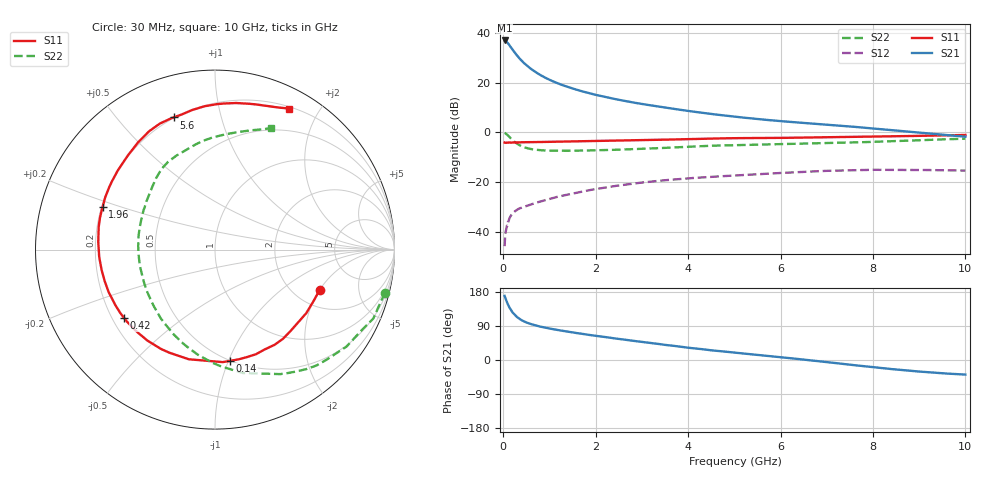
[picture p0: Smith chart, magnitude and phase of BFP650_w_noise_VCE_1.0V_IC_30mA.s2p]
! Infineon Technologies  Discrete & RF Semiconductors
! BFP650
! VCE =  1.0 V,  IC =  30 mA
! Common Emitter S-Parameters:  Jan 2016
# GHz  S  MA  R  50
!  f  S11  S21  S12  S22
! GHz  MAG  ANG  MAG  ANG  MAG  ANG  MAG  ANG
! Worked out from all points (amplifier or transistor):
!   229 points, 30 MHz to 10 GHz, reference 50 ohm
!   highest |S21| = 37.1 dB at 30 MHz (marker M1)
!   |S21| within 3 dB of that: start of sweep to 175.2 MHz
!   unconditionally stable (mu >= 1): 2.352 GHz to end of sweep
!   at 280 MHz: K = 0.33, MSG = 31.4 dB, |S12| = -31.4 dB
!   at 1.78 GHz: K = 0.95, MSG = 19.9 dB, |S12| = -23.6 dB
!   at 10 GHz: K = 1.04, MAG = 5.6 dB, |S12| = -15.4 dB
!   lowest NFmin = 0.77 dB at 450 MHz
!   S11 on the Smith chart (normalised r, x): 30 MHz: 2.72, -2.00; 140 MHz: 0.50, -1.01; 420 MHz: 0.25, -0.32; 1.96 GHz: 0.20, +0.18; 5.6 GHz: 0.20, +0.72; 10 GHz: 0.22, +1.63
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0.03  0.625 -21.0  71.32 169.3  0.0051 60.2  0.9772 -14.2
0.04  0.6196 -27.4  71.06 165.6  0.0078 84.3  0.9668 -18.3
0.05  0.6197 -34.8  69.56 162.0  0.0097 66.5  0.9622 -23.5
0.06  0.6153 -41.7  69.04 159.1  0.0107 51.4  0.9339 -28.5
0.08  0.6248 -52.6  66.16 152.8  0.0132 71.5  0.9102 -36.5
0.11  0.626 -68.6  61.33 144.5  0.0157 62.4  0.8586 -48.7
0.14  0.626 -82.3  56.13 137.4  0.0191 60.0  0.7996 -59.3
0.2  0.6282 -103.4  46.91 125.8  0.0233 50.7  0.705 -77.3
0.26  0.63 -118.5  39.48 117.6  0.026 48.0  0.63 -91.5
0.34  0.6313 -132.8  31.94 109.6  0.0291 44.6  0.5611 -106.6
0.42  0.6337 -143.1  26.62 103.7  0.0309 42.4  0.5162 -118.4
0.6  0.6381 -158.3  19.02 94.7  0.0353 41.9  0.4627 -138.1
0.9  0.6434 -172.9  12.76 85.6  0.0427 43.3  0.4318 -158.6
1.22  0.6517 176.7  9.441 78.3  0.0515 44.2  0.4264 -172.6
1.7  0.6646 164.9  6.762 69.2  0.0641 43.5  0.4306 172.7
1.96  0.6699 159.3  5.842 64.5  0.0711 41.9  0.4351 166.1
3.4  0.7101 134.5  3.271 41.7  0.1065 30.2  0.4835 138.4
5.1  0.767 112.5  2.031 18.3  0.137 14.7  0.5568 116.8
5.6  0.7718 107.4  1.824 12.2  0.1454 10.4  0.5684 110.8
6.8  0.7951 96.2  1.484 -2.8  0.1651 -1.4  0.6031 98.1
8.4  0.8351 76.6  1.112 -23.9  0.1761 -18.6  0.6635 79.8
10  0.8876 62.3  0.819 -38.5  0.1703 -30.6  0.7464 65.3
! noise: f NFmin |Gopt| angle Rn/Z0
0.45  0.77  0.08  132  2.09
0.9  0.79  0.3  -172  0.08
1.9  0.94  0.34  -160  0.06
2.4  1.01  0.35  -148  0.07
3.5  1.23  0.38  -125  0.12
